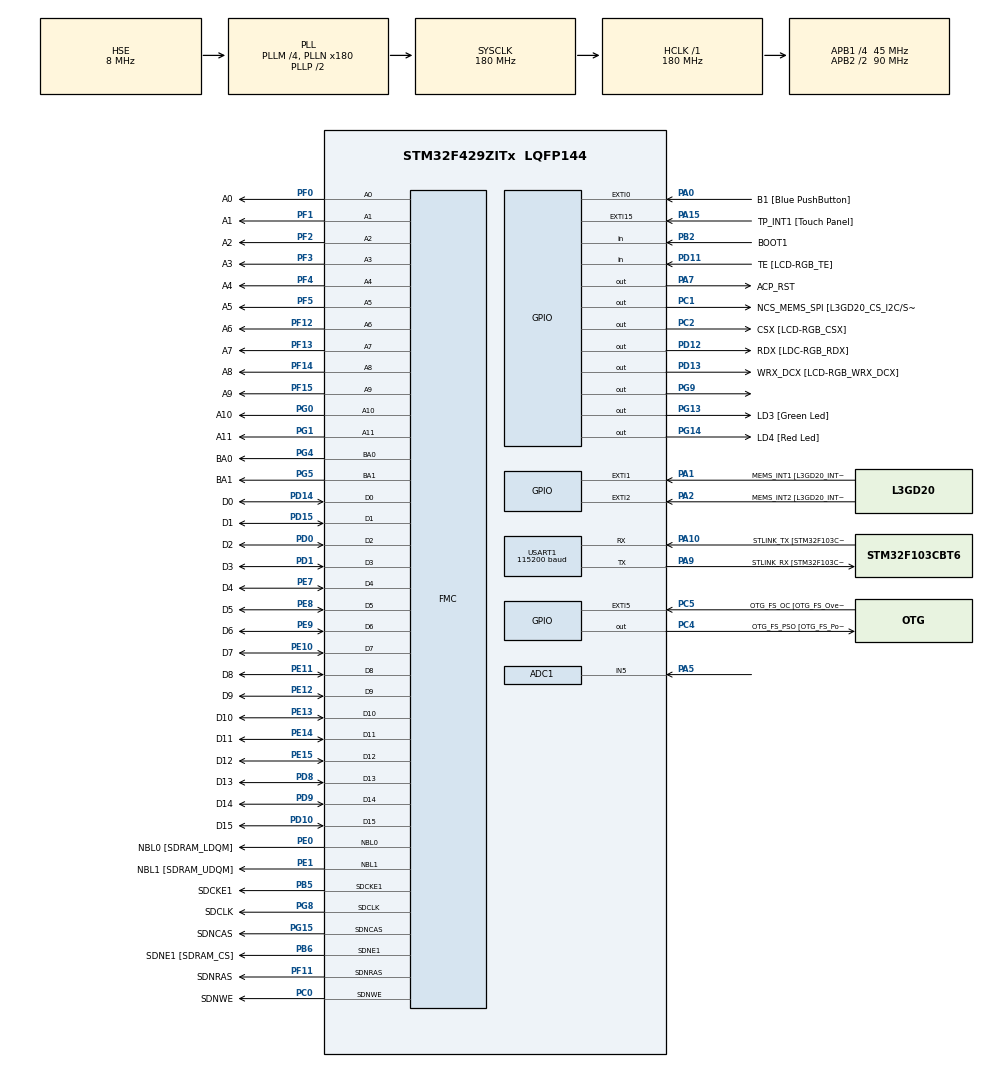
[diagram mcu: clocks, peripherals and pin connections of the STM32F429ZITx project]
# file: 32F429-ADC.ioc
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ADC1.Channel-0\#ChannelRegularConversion=ADC_CHANNEL_5
ADC1.ContinuousConvMode=ENABLE
ADC1.DMAContinuousRequests=DISABLE
ADC1.NbrOfConversionFlag=1
ADC1.Rank-0\#ChannelRegularConversion=1
ADC1.SamplingTime-0\#ChannelRegularConversion=ADC_SAMPLETIME_3CYCLES
ADC1.master=1
FMC.CASLatency1=FMC_SDRAM_CAS_LATENCY_3
FMC.ExitSelfRefreshDelay1=7
FMC.LoadToActiveDelay1=2
FMC.RCDDelay1=2
FMC.RPDelay1=2
FMC.RPDelay2=2
FMC.ReadBurst1=FMC_SDRAM_RBURST_DISABLE
FMC.ReadPipeDelay1=FMC_SDRAM_RPIPE_DELAY_1
FMC.ReadPipeDelay2=FMC_SDRAM_RPIPE_DELAY_1
FMC.RowCycleDelay1=7
FMC.RowCycleDelay2=7
FMC.SDClockPeriod1=FMC_SDRAM_CLOCK_PERIOD_2
FMC.SDClockPeriod2=FMC_SDRAM_CLOCK_PERIOD_2
FMC.SelfRefreshTime1=4
FMC.WriteRecoveryTime1=3
Mcu.Family=STM32F4
Mcu.Name=STM32F429ZITx
Mcu.Package=LQFP144
NVIC.PriorityGroup=NVIC_PRIORITYGROUP_4
NVIC.TIM6_DAC_IRQn=true\:15\:0\:false\:false\:true\:false\:true\:true
NVIC.TimeBase=TIM6_DAC_IRQn
NVIC.TimeBaseIP=TIM6
PA0/WKUP.GPIO_Label=B1 [Blue PushButton]
PA0/WKUP.GPIO_ModeDefaultEXTI=GPIO_MODE_EVT_RISING
PA0/WKUP.GPIO_PuPd=GPIO_NOPULL
PA0/WKUP.Signal=GPXTI0
PA1.GPIO_Label=MEMS_INT1 [L3GD20_INT1]
PA1.GPIO_ModeDefaultEXTI=GPIO_MODE_EVT_RISING
PA1.GPIO_PuPd=GPIO_NOPULL
PA1.Signal=GPXTI1
PA10.GPIO_Label=STLINK_TX [STM32F103CBT6_PA2]
PA10.Mode=Asynchronous
PA10.Signal=USART1_RX
PA11.GPIO_Label=R4
PA11.GPIO_Mode=GPIO_MODE_AF_PP
PA11.GPIO_PuPd=GPIO_NOPULL
PA11.GPIO_Speed=GPIO_SPEED_FREQ_LOW
PA11.Signal=LTDC_R4
PA12.GPIO_Label=R5
PA12.GPIO_Mode=GPIO_MODE_AF_PP
PA12.GPIO_PuPd=GPIO_NOPULL
PA12.GPIO_Speed=GPIO_SPEED_FREQ_LOW
PA12.Signal=LTDC_R5
PA13.GPIO_Label=SWDIO
PA13.Mode=Serial_Wire
PA13.Signal=SYS_JTMS-SWDIO
PA14.GPIO_Label=SWCLK
PA14.Mode=Serial_Wire
PA14.Signal=SYS_JTCK-SWCLK
PA15.GPIO_Label=TP_INT1 [Touch Panel]
PA15.GPIO_ModeDefaultEXTI=GPIO_MODE_EVT_RISING
PA15.GPIO_PuPd=GPIO_NOPULL
PA15.Signal=GPXTI15
PA2.GPIO_Label=MEMS_INT2 [L3GD20_INT2]
PA2.GPIO_ModeDefaultEXTI=GPIO_MODE_EVT_RISING
PA2.GPIO_PuPd=GPIO_NOPULL
PA2.Signal=GPXTI2
PA5.Signal=ADCx_IN5
PA7.GPIO_Label=ACP_RST
PA7.GPIO_Mode=GPIO_MODE_OUTPUT_PP
PA7.GPIO_PuPd=GPIO_NOPULL
PA7.GPIO_Speed=GPIO_SPEED_FREQ_LOW
PA7.Signal=GPIO_Output
PA8.GPIO_Label=I2C3_SCL [ACP/RF_SCL]
PA8.GPIO_Mode=GPIO_MODE_AF_OD
PA8.GPIO_Pu=GPIO_PULLUP
PA8.GPIO_PuPd=GPIO_NOPULL
PA8.GPIO_Speed=GPIO_SPEED_FREQ_LOW
PA8.Signal=I2C3_SCL
PA9.GPIO_Label=STLINK_RX [STM32F103CBT6_PA3]
PA9.Mode=Asynchronous
PA9.Signal=USART1_TX
PB10.GPIO_Label=G4
PB10.GPIO_Mode=GPIO_MODE_AF_PP
PB10.GPIO_PuPd=GPIO_NOPULL
PB10.GPIO_Speed=GPIO_SPEED_FREQ_LOW
PB10.Signal=LTDC_G4
PB11.GPIO_Label=G5
PB11.GPIO_Mode=GPIO_MODE_AF_PP
PB11.GPIO_PuPd=GPIO_NOPULL
PB11.GPIO_Speed=GPIO_SPEED_FREQ_LOW
PB11.Signal=LTDC_G5
PB12.GPIO_Label=OTG_HS_ID
PB12.GPIO_Mode=GPIO_MODE_AF_PP
PB12.GPIO_PuPd=GPIO_NOPULL
PB12.GPIO_Speed=GPIO_SPEED_FREQ_LOW
PB12.Signal=USB_OTG_HS_ID
PB13.GPIO_Label=VBUS_HS
PB13.GPIO_Mode=GPIO_MODE_INPUT
PB13.GPIO_PuPd=GPIO_NOPULL
PB13.Signal=USB_OTG_HS_VBUS
PB14.GPIO_Label=OTG_HS_DM
PB14.GPIO_Mode=GPIO_MODE_AF_PP
PB14.GPIO_PuPd=GPIO_NOPULL
PB14.GPIO_Speed=GPIO_SPEED_FREQ_LOW
PB14.Signal=USB_OTG_HS_DM
PB15.GPIO_Label=OTG_HS_DP
PB15.GPIO_Mode=GPIO_MODE_AF_PP
PB15.GPIO_PuPd=GPIO_NOPULL
PB15.GPIO_Speed=GPIO_SPEED_FREQ_LOW
PB15.Signal=USB_OTG_HS_DP
PB2/BOOT1.GPIO_Label=BOOT1
PB2/BOOT1.GPIO_Mode=GPIO_MODE_INPUT
PB2/BOOT1.GPIO_PuPd=GPIO_NOPULL
PB2/BOOT1.Signal=GPIO_Input
PB5.GPIO_Label=SDCKE1
PB5.GPIO_Mode=GPIO_MODE_AF_PP
PB5.GPIO_PuPd=GPIO_NOPULL
PB5.GPIO_Speed=GPIO_SPEED_FREQ_VERY_HIGH
PB5.Mode=SdramChipSelect2_1
PB5.Signal=FMC_SDCKE1
PB6.GPIO_Label=SDNE1 [SDRAM_CS]
PB6.GPIO_Mode=GPIO_MODE_AF_PP
PB6.GPIO_PuPd=GPIO_NOPULL
PB6.GPIO_Speed=GPIO_SPEED_FREQ_VERY_HIGH
PB6.Mode=SdramChipSelect2_1
PB6.Signal=FMC_SDNE1
PB8.GPIO_Label=B6
PB8.GPIO_Mode=GPIO_MODE_AF_PP
PB8.GPIO_PuPd=GPIO_NOPULL
PB8.GPIO_Speed=GPIO_SPEED_FREQ_LOW
PB8.Signal=LTDC_B6
PB9.GPIO_Label=B7
PB9.GPIO_Mode=GPIO_MODE_AF_PP
PB9.GPIO_PuPd=GPIO_NOPULL
PB9.GPIO_Speed=GPIO_SPEED_FREQ_LOW
PB9.Signal=LTDC_B7
PC0.GPIO_Label=SDNWE
PC0.GPIO_Mode=GPIO_MODE_AF_PP
PC0.GPIO_PuPd=GPIO_NOPULL
PC0.GPIO_Speed=GPIO_SPEED_FREQ_VERY_HIGH
PC0.Signal=FMC_SDNWE
PC1.GPIO_Label=NCS_MEMS_SPI [L3GD20_CS_I2C/SPI]
PC1.GPIO_Mode=GPIO_MODE_OUTPUT_PP
PC1.GPIO_PuPd=GPIO_NOPULL
PC1.GPIO_Speed=GPIO_SPEED_FREQ_LOW
PC1.Signal=GPIO_Output
PC10.GPIO_Label=R2
PC10.GPIO_Mode=GPIO_MODE_AF_PP
PC10.GPIO_PuPd=GPIO_NOPULL
PC10.GPIO_Speed=GPIO_SPEED_FREQ_LOW
PC10.Signal=LTDC_R2
PC14/OSC32_IN.GPIO_Label=PC14-OSC32_IN
PC14/OSC32_IN.Signal=RCC_OSC32_IN
PC15/OSC32_OUT.GPIO_Label=PC15-OSC32_OUT
PC15/OSC32_OUT.Signal=RCC_OSC32_OUT
PC2.GPIO_Label=CSX [LCD-RGB_CSX]
PC2.GPIO_Mode=GPIO_MODE_OUTPUT_PP
PC2.GPIO_PuPd=GPIO_NOPULL
PC2.GPIO_Speed=GPIO_SPEED_FREQ_LOW
PC2.Signal=GPIO_Output
PC4.GPIO_Label=OTG_FS_PSO [OTG_FS_PowerSwitchOn]
PC4.GPIO_Mode=GPIO_MODE_OUTPUT_PP
PC4.GPIO_PuPd=GPIO_NOPULL
PC4.GPIO_Speed=GPIO_SPEED_FREQ_LOW
PC4.Signal=GPIO_Output
PC5.GPIO_Label=OTG_FS_OC [OTG_FS_OverCurrent]
PC5.GPIO_ModeDefaultEXTI=GPIO_MODE_EVT_RISING
PC5.Signal=GPXTI5
PC6.GPIO_Label=HSYNC
PC6.GPIO_Mode=GPIO_MODE_AF_PP
PC6.GPIO_PuPd=GPIO_NOPULL
PC6.GPIO_Speed=GPIO_SPEED_FREQ_LOW
PC6.Signal=LTDC_HSYNC
PC7.GPIO_Label=G6
PC7.GPIO_Mode=GPIO_MODE_AF_PP
PC7.GPIO_PuPd=GPIO_NOPULL
PC7.GPIO_Speed=GPIO_SPEED_FREQ_LOW
PC7.Signal=LTDC_G6
PC9.GPIO_Label=I2C3_SDA [ACP/RF_SDA]
PC9.GPIO_Mode=GPIO_MODE_AF_OD
PC9.GPIO_Pu=GPIO_PULLUP
PC9.GPIO_PuPd=GPIO_NOPULL
PC9.GPIO_Speed=GPIO_SPEED_FREQ_LOW
PC9.Signal=I2C3_SDA
PD0.GPIO_Label=D2
PD0.GPIO_Mode=GPIO_MODE_AF_PP
PD0.GPIO_PuPd=GPIO_NOPULL
PD0.GPIO_Speed=GPIO_SPEED_FREQ_VERY_HIGH
PD0.Signal=FMC_D2_DA2
PD1.GPIO_Label=D3
PD1.GPIO_Mode=GPIO_MODE_AF_PP
PD1.GPIO_PuPd=GPIO_NOPULL
PD1.GPIO_Speed=GPIO_SPEED_FREQ_VERY_HIGH
PD1.Signal=FMC_D3_DA3
PD10.GPIO_Label=D15
PD10.GPIO_Mode=GPIO_MODE_AF_PP
PD10.GPIO_PuPd=GPIO_NOPULL
PD10.GPIO_Speed=GPIO_SPEED_FREQ_VERY_HIGH
PD10.Signal=FMC_D15_DA15
PD11.GPIO_Label=TE [LCD-RGB_TE]
PD11.GPIO_Mode=GPIO_MODE_INPUT
PD11.GPIO_PuPd=GPIO_NOPULL
PD11.Signal=GPIO_Input
PD12.GPIO_Label=RDX [LDC-RGB_RDX]
PD12.GPIO_Mode=GPIO_MODE_OUTPUT_PP
PD12.GPIO_PuPd=GPIO_NOPULL
PD12.GPIO_Speed=GPIO_SPEED_FREQ_LOW
PD12.Signal=GPIO_Output
PD13.GPIO_Label=WRX_DCX [LCD-RGB_WRX_DCX]
PD13.GPIO_Mode=GPIO_MODE_OUTPUT_PP
PD13.GPIO_PuPd=GPIO_NOPULL
PD13.GPIO_Speed=GPIO_SPEED_FREQ_LOW
PD13.Signal=GPIO_Output
PD14.GPIO_Label=D0
PD14.GPIO_Mode=GPIO_MODE_AF_PP
PD14.GPIO_PuPd=GPIO_NOPULL
PD14.GPIO_Speed=GPIO_SPEED_FREQ_VERY_HIGH
PD14.Signal=FMC_D0_DA0
PD15.GPIO_Label=D1
PD15.GPIO_Mode=GPIO_MODE_AF_PP
PD15.GPIO_PuPd=GPIO_NOPULL
PD15.GPIO_Speed=GPIO_SPEED_FREQ_VERY_HIGH
PD15.Signal=FMC_D1_DA1
PD3.GPIO_Label=G7
PD3.GPIO_Mode=GPIO_MODE_AF_PP
PD3.GPIO_PuPd=GPIO_NOPULL
PD3.GPIO_Speed=GPIO_SPEED_FREQ_LOW
PD3.Signal=LTDC_G7
PD6.GPIO_Label=B2
PD6.GPIO_Mode=GPIO_MODE_AF_PP
PD6.GPIO_PuPd=GPIO_NOPULL
PD6.GPIO_Speed=GPIO_SPEED_FREQ_LOW
PD6.Signal=LTDC_B2
PD8.GPIO_Label=D13
PD8.GPIO_Mode=GPIO_MODE_AF_PP
PD8.GPIO_PuPd=GPIO_NOPULL
PD8.GPIO_Speed=GPIO_SPEED_FREQ_VERY_HIGH
PD8.Signal=FMC_D13_DA13
PD9.GPIO_Label=D14
PD9.GPIO_Mode=GPIO_MODE_AF_PP
PD9.GPIO_PuPd=GPIO_NOPULL
PD9.GPIO_Speed=GPIO_SPEED_FREQ_VERY_HIGH
PD9.Signal=FMC_D14_DA14
PE0.GPIO_Label=NBL0 [SDRAM_LDQM]
PE0.GPIO_Mode=GPIO_MODE_AF_PP
PE0.GPIO_PuPd=GPIO_NOPULL
PE0.GPIO_Speed=GPIO_SPEED_FREQ_VERY_HIGH
PE0.Signal=FMC_NBL0
PE1.GPIO_Label=NBL1 [SDRAM_UDQM]
PE1.GPIO_Mode=GPIO_MODE_AF_PP
PE1.GPIO_PuPd=GPIO_NOPULL
PE1.GPIO_Speed=GPIO_SPEED_FREQ_VERY_HIGH
PE1.Signal=FMC_NBL1
PE10.GPIO_Label=D7
PE10.GPIO_Mode=GPIO_MODE_AF_PP
PE10.GPIO_PuPd=GPIO_NOPULL
PE10.GPIO_Speed=GPIO_SPEED_FREQ_VERY_HIGH
PE10.Signal=FMC_D7_DA7
PE11.GPIO_Label=D8
PE11.GPIO_Mode=GPIO_MODE_AF_PP
PE11.GPIO_PuPd=GPIO_NOPULL
PE11.GPIO_Speed=GPIO_SPEED_FREQ_VERY_HIGH
PE11.Signal=FMC_D8_DA8
PE12.GPIO_Label=D9
PE12.GPIO_Mode=GPIO_MODE_AF_PP
PE12.GPIO_PuPd=GPIO_NOPULL
PE12.GPIO_Speed=GPIO_SPEED_FREQ_VERY_HIGH
PE12.Signal=FMC_D9_DA9
PE13.GPIO_Label=D10
PE13.GPIO_Mode=GPIO_MODE_AF_PP
PE13.GPIO_PuPd=GPIO_NOPULL
PE13.GPIO_Speed=GPIO_SPEED_FREQ_VERY_HIGH
PE13.Signal=FMC_D10_DA10
PE14.GPIO_Label=D11
PE14.GPIO_Mode=GPIO_MODE_AF_PP
PE14.GPIO_PuPd=GPIO_NOPULL
PE14.GPIO_Speed=GPIO_SPEED_FREQ_VERY_HIGH
PE14.Signal=FMC_D11_DA11
PE15.GPIO_Label=D12
PE15.GPIO_Mode=GPIO_MODE_AF_PP
PE15.GPIO_PuPd=GPIO_NOPULL
PE15.GPIO_Speed=GPIO_SPEED_FREQ_VERY_HIGH
PE15.Signal=FMC_D12_DA12
PE7.GPIO_Label=D4
PE7.GPIO_Mode=GPIO_MODE_AF_PP
PE7.GPIO_PuPd=GPIO_NOPULL
PE7.GPIO_Speed=GPIO_SPEED_FREQ_VERY_HIGH
PE7.Signal=FMC_D4_DA4
PE8.GPIO_Label=D5
PE8.GPIO_Mode=GPIO_MODE_AF_PP
PE8.GPIO_PuPd=GPIO_NOPULL
PE8.GPIO_Speed=GPIO_SPEED_FREQ_VERY_HIGH
PE8.Signal=FMC_D5_DA5
PE9.GPIO_Label=D6
PE9.GPIO_Mode=GPIO_MODE_AF_PP
PE9.GPIO_PuPd=GPIO_NOPULL
PE9.GPIO_Speed=GPIO_SPEED_FREQ_VERY_HIGH
PE9.Signal=FMC_D6_DA6
PF0.GPIO_Label=A0
PF0.GPIO_Mode=GPIO_MODE_AF_PP
PF0.GPIO_PuPd=GPIO_NOPULL
PF0.GPIO_Speed=GPIO_SPEED_FREQ_VERY_HIGH
PF0.Signal=FMC_A0
PF1.GPIO_Label=A1
PF1.GPIO_Mode=GPIO_MODE_AF_PP
PF1.GPIO_PuPd=GPIO_NOPULL
PF1.GPIO_Speed=GPIO_SPEED_FREQ_VERY_HIGH
PF1.Signal=FMC_A1
PF11.GPIO_Label=SDNRAS
PF11.GPIO_Mode=GPIO_MODE_AF_PP
PF11.GPIO_PuPd=GPIO_NOPULL
PF11.GPIO_Speed=GPIO_SPEED_FREQ_VERY_HIGH
PF11.Signal=FMC_SDNRAS
PF12.GPIO_Label=A6
PF12.GPIO_Mode=GPIO_MODE_AF_PP
PF12.GPIO_PuPd=GPIO_NOPULL
PF12.GPIO_Speed=GPIO_SPEED_FREQ_VERY_HIGH
PF12.Signal=FMC_A6
PF13.GPIO_Label=A7
PF13.GPIO_Mode=GPIO_MODE_AF_PP
PF13.GPIO_PuPd=GPIO_NOPULL
PF13.GPIO_Speed=GPIO_SPEED_FREQ_VERY_HIGH
PF13.Signal=FMC_A7
PF14.GPIO_Label=A8
PF14.GPIO_Mode=GPIO_MODE_AF_PP
PF14.GPIO_PuPd=GPIO_NOPULL
PF14.GPIO_Speed=GPIO_SPEED_FREQ_VERY_HIGH
PF14.Signal=FMC_A8
PF15.GPIO_Label=A9
PF15.GPIO_Mode=GPIO_MODE_AF_PP
PF15.GPIO_PuPd=GPIO_NOPULL
PF15.GPIO_Speed=GPIO_SPEED_FREQ_VERY_HIGH
PF15.Signal=FMC_A9
PF2.GPIO_Label=A2
PF2.GPIO_Mode=GPIO_MODE_AF_PP
PF2.GPIO_PuPd=GPIO_NOPULL
PF2.GPIO_Speed=GPIO_SPEED_FREQ_VERY_HIGH
PF2.Signal=FMC_A2
PF3.GPIO_Label=A3
PF3.GPIO_Mode=GPIO_MODE_AF_PP
PF3.GPIO_PuPd=GPIO_NOPULL
PF3.GPIO_Speed=GPIO_SPEED_FREQ_VERY_HIGH
PF3.Signal=FMC_A3
PF4.GPIO_Label=A4
PF4.GPIO_Mode=GPIO_MODE_AF_PP
PF4.GPIO_PuPd=GPIO_NOPULL
PF4.GPIO_Speed=GPIO_SPEED_FREQ_VERY_HIGH
PF4.Signal=FMC_A4
PF5.GPIO_Label=A5
PF5.GPIO_Mode=GPIO_MODE_AF_PP
PF5.GPIO_PuPd=GPIO_NOPULL
PF5.GPIO_Speed=GPIO_SPEED_FREQ_VERY_HIGH
PF5.Signal=FMC_A5
PF7.GPIO_Label=SPI5_SCK [L3GD20_SCL/SPC]
PF7.GPIO_Mode=GPIO_MODE_AF_PP
PF7.GPIO_PuPd=GPIO_NOPULL
PF7.GPIO_Speed=GPIO_SPEED_FREQ_LOW
PF7.Signal=SPI5_SCK
PF8.GPIO_Label=SPI5_MISO [L3GD20_SDO]
PF8.GPIO_Mode=GPIO_MODE_AF_PP
PF8.GPIO_PuPd=GPIO_NOPULL
PF8.GPIO_Speed=GPIO_SPEED_FREQ_LOW
PF8.Signal=SPI5_MISO
PF9.GPIO_Label=SPI5_MOSI [L3GD20_SDA/SDI/SDO]
PF9.GPIO_Mode=GPIO_MODE_AF_PP
PF9.GPIO_PuPd=GPIO_NOPULL
PF9.GPIO_Speed=GPIO_SPEED_FREQ_LOW
PF9.Signal=SPI5_MOSI
PG0.GPIO_Label=A10
PG0.GPIO_Mode=GPIO_MODE_AF_PP
PG0.GPIO_PuPd=GPIO_NOPULL
PG0.GPIO_Speed=GPIO_SPEED_FREQ_VERY_HIGH
PG0.Signal=FMC_A10
PG1.GPIO_Label=A11
PG1.GPIO_Mode=GPIO_MODE_AF_PP
PG1.GPIO_PuPd=GPIO_NOPULL
PG1.GPIO_Speed=GPIO_SPEED_FREQ_VERY_HIGH
PG1.Signal=FMC_A11
PG10.GPIO_Label=G3
PG10.GPIO_Mode=GPIO_MODE_AF_PP
PG10.GPIO_PuPd=GPIO_NOPULL
PG10.GPIO_Speed=GPIO_SPEED_FREQ_LOW
PG10.Signal=LTDC_G3
PG11.GPIO_Label=B3
PG11.GPIO_Mode=GPIO_MODE_AF_PP
PG11.GPIO_PuPd=GPIO_NOPULL
PG11.GPIO_Speed=GPIO_SPEED_FREQ_LOW
PG11.Signal=LTDC_B3
PG12.GPIO_Label=B4
PG12.GPIO_Mode=GPIO_MODE_AF_PP
PG12.GPIO_PuPd=GPIO_NOPULL
PG12.GPIO_Speed=GPIO_SPEED_FREQ_LOW
PG12.Signal=LTDC_B4
PG13.GPIO_Label=LD3 [Green Led]
PG13.GPIO_Mode=GPIO_MODE_OUTPUT_PP
PG13.GPIO_PuPd=GPIO_NOPULL
PG13.GPIO_Speed=GPIO_SPEED_FREQ_LOW
PG13.Signal=GPIO_Output
PG14.GPIO_Label=LD4 [Red Led]
PG14.GPIO_Mode=GPIO_MODE_OUTPUT_PP
PG14.GPIO_PuPd=GPIO_NOPULL
PG14.GPIO_Speed=GPIO_SPEED_FREQ_LOW
PG14.Signal=GPIO_Output
PG15.GPIO_Label=SDNCAS
PG15.GPIO_Mode=GPIO_MODE_AF_PP
PG15.GPIO_PuPd=GPIO_NOPULL
PG15.GPIO_Speed=GPIO_SPEED_FREQ_VERY_HIGH
PG15.Signal=FMC_SDNCAS
PG4.GPIO_Label=BA0
PG4.GPIO_Mode=GPIO_MODE_AF_PP
PG4.GPIO_PuPd=GPIO_NOPULL
PG4.GPIO_Speed=GPIO_SPEED_FREQ_VERY_HIGH
PG4.Signal=FMC_A14_BA0
PG5.GPIO_Label=BA1
PG5.GPIO_Mode=GPIO_MODE_AF_PP
PG5.GPIO_PuPd=GPIO_NOPULL
PG5.GPIO_Speed=GPIO_SPEED_FREQ_VERY_HIGH
PG5.Signal=FMC_A15_BA1
PG6.GPIO_Label=R7
PG6.GPIO_Mode=GPIO_MODE_AF_PP
PG6.GPIO_PuPd=GPIO_NOPULL
PG6.GPIO_Speed=GPIO_SPEED_FREQ_LOW
PG6.Signal=LTDC_R7
PG7.GPIO_Label=DOTCLK [LCT-RGB_DOTCLK]
PG7.GPIO_Mode=GPIO_MODE_AF_PP
PG7.GPIO_PuPd=GPIO_NOPULL
PG7.GPIO_Speed=GPIO_SPEED_FREQ_LOW
PG7.Signal=LTDC_CLK
PG8.GPIO_Label=SDCLK
PG8.GPIO_Mode=GPIO_MODE_AF_PP
PG8.GPIO_PuPd=GPIO_NOPULL
PG8.GPIO_Speed=GPIO_SPEED_FREQ_VERY_HIGH
PG8.Signal=FMC_SDCLK
PG9.Signal=GPIO_Output
PH0/OSC_IN.GPIO_Label=PH0-OSC_IN
PH0/OSC_IN.Mode=HSE-External-Oscillator
PH0/OSC_IN.Signal=RCC_OSC_IN
PH1/OSC_OUT.GPIO_Label=PH1-OSC_OUT
PH1/OSC_OUT.Mode=HSE-External-Oscillator
PH1/OSC_OUT.Signal=RCC_OSC_OUT
ProjectManager.HeapSize=0x200
ProjectManager.StackSize=0x400
ProjectManager.TargetToolchain=STM32CubeIDE
RCC.48MHZClocksFreq_Value=120000000
RCC.AHBFreq_Value=180000000
RCC.APB1CLKDivider=RCC_HCLK_DIV4
RCC.APB1Freq_Value=45000000
RCC.APB1TimFreq_Value=90000000
RCC.APB2CLKDivider=RCC_HCLK_DIV2
RCC.APB2Freq_Value=90000000
RCC.APB2TimFreq_Value=180000000
RCC.CortexFreq_Value=180000000
RCC.HCLKFreq_Value=180000000
RCC.HSE_VALUE=8000000
RCC.HSI_VALUE=16000000
RCC.LSE_VALUE=32768
RCC.PLLM=4
RCC.PLLN=180
RCC.PLLQ=3
RCC.PLLSAIN=50
RCC.PLLSourceVirtual=RCC_PLLSOURCE_HSE
RCC.SYSCLKFreq_VALUE=180000000
RCC.SYSCLKSource=RCC_SYSCLKSOURCE_PLLCLK
RCC.VCOOutputFreq_Value=360000000
SH.ADCx_IN5.0=ADC1_IN5,IN5
SH.FMC_A0.0=FMC_A0,12b-sda1
SH.FMC_A1.0=FMC_A1,12b-sda1
SH.FMC_A10.0=FMC_A10,12b-sda1
SH.FMC_A11.0=FMC_A11,12b-sda1
SH.FMC_A14_BA0.0=FMC_BA0,FourSdramBanks1
SH.FMC_A15_BA1.0=FMC_BA1,FourSdramBanks1
SH.FMC_A2.0=FMC_A2,12b-sda1
SH.FMC_A3.0=FMC_A3,12b-sda1
SH.FMC_A4.0=FMC_A4,12b-sda1
SH.FMC_A5.0=FMC_A5,12b-sda1
SH.FMC_A6.0=FMC_A6,12b-sda1
SH.FMC_A7.0=FMC_A7,12b-sda1
SH.FMC_A8.0=FMC_A8,12b-sda1
SH.FMC_A9.0=FMC_A9,12b-sda1
SH.FMC_D0_DA0.0=FMC_D0,sd-16b-d1
SH.FMC_D10_DA10.0=FMC_D10,sd-16b-d1
SH.FMC_D11_DA11.0=FMC_D11,sd-16b-d1
SH.FMC_D12_DA12.0=FMC_D12,sd-16b-d1
SH.FMC_D13_DA13.0=FMC_D13,sd-16b-d1
SH.FMC_D14_DA14.0=FMC_D14,sd-16b-d1
SH.FMC_D15_DA15.0=FMC_D15,sd-16b-d1
SH.FMC_D1_DA1.0=FMC_D1,sd-16b-d1
SH.FMC_D2_DA2.0=FMC_D2,sd-16b-d1
SH.FMC_D3_DA3.0=FMC_D3,sd-16b-d1
SH.FMC_D4_DA4.0=FMC_D4,sd-16b-d1
SH.FMC_D5_DA5.0=FMC_D5,sd-16b-d1
SH.FMC_D6_DA6.0=FMC_D6,sd-16b-d1
SH.FMC_D7_DA7.0=FMC_D7,sd-16b-d1
SH.FMC_D8_DA8.0=FMC_D8,sd-16b-d1
SH.FMC_D9_DA9.0=FMC_D9,sd-16b-d1
SH.FMC_NBL0.0=FMC_NBL0,Sd2ByteEnable1
SH.FMC_NBL1.0=FMC_NBL1,Sd2ByteEnable1
SH.FMC_SDCLK.0=FMC_SDCLK,12b-sda1
SH.FMC_SDNCAS.0=FMC_SDNCAS,12b-sda1
SH.FMC_SDNRAS.0=FMC_SDNRAS,12b-sda1
SH.FMC_SDNWE.0=FMC_SDNWE,12b-sda1
USART1.BaudRate=115200
USART1.VirtualMode=VM_ASYNC
VP_CRC_VS_CRC.Mode=CRC_Activate
VP_SYS_VS_tim6.Mode=TIM6
VP_TIM1_VS_ClockSourceINT.Mode=Internal
board=STM32F429I-DISC1

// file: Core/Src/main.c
/* USER CODE BEGIN Header */
/**
  ******************************************************************************
  * @file           : main.c
  * @brief          : Main program body
  ******************************************************************************
  * @attention
  *
  * Copyright (c) 2023 STMicroelectronics.
  * All rights reserved.
  *
  * This software is licensed under terms that can be found in the LICENSE file
  * in the root directory of this software component.
  * If no LICENSE file comes with this software, it is provided AS-IS.
  *
  ******************************************************************************
  */
/* USER CODE END Header */
#include "main.h"
#include "adc.h"
#include "crc.h"
#include "tim.h"
#include "usart.h"
#include "gpio.h"
#include "fmc.h"

/* USER CODE BEGIN Includes */
#include <string.h>
#include <stdio.h>

/* USER CODE END Includes */

/* USER CODE BEGIN PD */
uint16_t raw;
char msg[10];

/* USER CODE END PD */

void SystemClock_Config(void);

int main(void)
{

  /* MCU Configuration--------------------------------------------------------*/

  /* Reset of all peripherals, Initializes the Flash interface and the Systick. */
  HAL_Init();

  /* Configure the system clock */
  SystemClock_Config();

  /* Initialize all configured peripherals */
  MX_GPIO_Init();
  MX_CRC_Init();
  MX_FMC_Init();
  MX_TIM1_Init();
  MX_ADC1_Init();
  MX_USART1_UART_Init();

  /* Infinite loop */
  /* USER CODE BEGIN WHILE */
  while (1)
  {
    if(HAL_GPIO_ReadPin(GPIOA, GPIO_PIN_0) == 1){
      HAL_GPIO_TogglePin(LD4_GPIO_Port, LD4_Pin);

      /* Code for infinite reading loop */
      // do{
      //   HAL_Delay(100);
      for(int i=0; i<3*SECOND; i++){
    	// Get ADC value
        HAL_ADC_Start(&hadc1);
        HAL_ADC_PollForConversion(&hadc1, HAL_MAX_DELAY);
        raw = HAL_ADC_GetValue(&hadc1);

        // Convert to string and print
        sprintf(msg, "%hu,", raw);
        HAL_UART_Transmit(&huart1, (uint8_t*)msg, strlen(msg), HAL_MAX_DELAY);
      } // while(HAL_GPIO_ReadPin(GPIOA, GPIO_PIN_0) != 1)
    // End line and reset pointer
    HAL_UART_Transmit(&huart1, (uint8_t*)"\n\r", 2, HAL_MAX_DELAY);

    // Finish reading
    HAL_GPIO_TogglePin(LD4_GPIO_Port, LD4_Pin);
    HAL_Delay(1000);
    }

    /* USER CODE END WHILE */

  }
}

void SystemClock_Config(void)
{
  RCC_OscInitTypeDef RCC_OscInitStruct = {0};
  RCC_ClkInitTypeDef RCC_ClkInitStruct = {0};

  /** Configure the main internal regulator output voltage
  */
  __HAL_RCC_PWR_CLK_ENABLE();
  __HAL_PWR_VOLTAGESCALING_CONFIG(PWR_REGULATOR_VOLTAGE_SCALE1);

  /** Initializes the RCC Oscillators according to the specified parameters
  * in the RCC_OscInitTypeDef structure.
  */
  RCC_OscInitStruct.OscillatorType = RCC_OSCILLATORTYPE_HSE;
  RCC_OscInitStruct.HSEState = RCC_HSE_ON;
  RCC_OscInitStruct.PLL.PLLState = RCC_PLL_ON;
  RCC_OscInitStruct.PLL.PLLSource = RCC_PLLSOURCE_HSE;
  RCC_OscInitStruct.PLL.PLLM = 4;
  RCC_OscInitStruct.PLL.PLLN = 180;
  RCC_OscInitStruct.PLL.PLLP = RCC_PLLP_DIV2;
  RCC_OscInitStruct.PLL.PLLQ = 3;
  if (HAL_RCC_OscConfig(&RCC_OscInitStruct) != HAL_OK)
  {
    Error_Handler();
  }

  /** Activate the Over-Drive mode
  */
  if (HAL_PWREx_EnableOverDrive() != HAL_OK)
  {
    Error_Handler();
  }

  /** Initializes the CPU, AHB and APB buses clocks
  */
  RCC_ClkInitStruct.ClockType = RCC_CLOCKTYPE_HCLK|RCC_CLOCKTYPE_SYSCLK
                              |RCC_CLOCKTYPE_PCLK1|RCC_CLOCKTYPE_PCLK2;
  RCC_ClkInitStruct.SYSCLKSource = RCC_SYSCLKSOURCE_PLLCLK;
  RCC_ClkInitStruct.AHBCLKDivider = RCC_SYSCLK_DIV1;
  RCC_ClkInitStruct.APB1CLKDivider = RCC_HCLK_DIV4;
  RCC_ClkInitStruct.APB2CLKDivider = RCC_HCLK_DIV2;

  if (HAL_RCC_ClockConfig(&RCC_ClkInitStruct, FLASH_LATENCY_5) != HAL_OK)
  {
    Error_Handler();
  }
}

/* USER CODE BEGIN 4 */
// Called when first half of buffer is filled
void HAL_ADC_ConvHalfCpltCallback(ADC_HandleTypeDef* hadc) {
  HAL_GPIO_WritePin(LD4_GPIO_Port, LD4_Pin, GPIO_PIN_SET);
}

// Called when buffer is completely filled
void HAL_ADC_ConvCpltCallback(ADC_HandleTypeDef* hadc) {
  HAL_GPIO_WritePin(LD4_GPIO_Port, LD4_Pin, GPIO_PIN_RESET);
}

/* USER CODE END 4 */

void HAL_TIM_PeriodElapsedCallback(TIM_HandleTypeDef *htim)
{
  if (htim->Instance == TIM6) {
    HAL_IncTick();
  }
}

void Error_Handler(void)
{
  __disable_irq();
  while (1)
  {
  }
}
